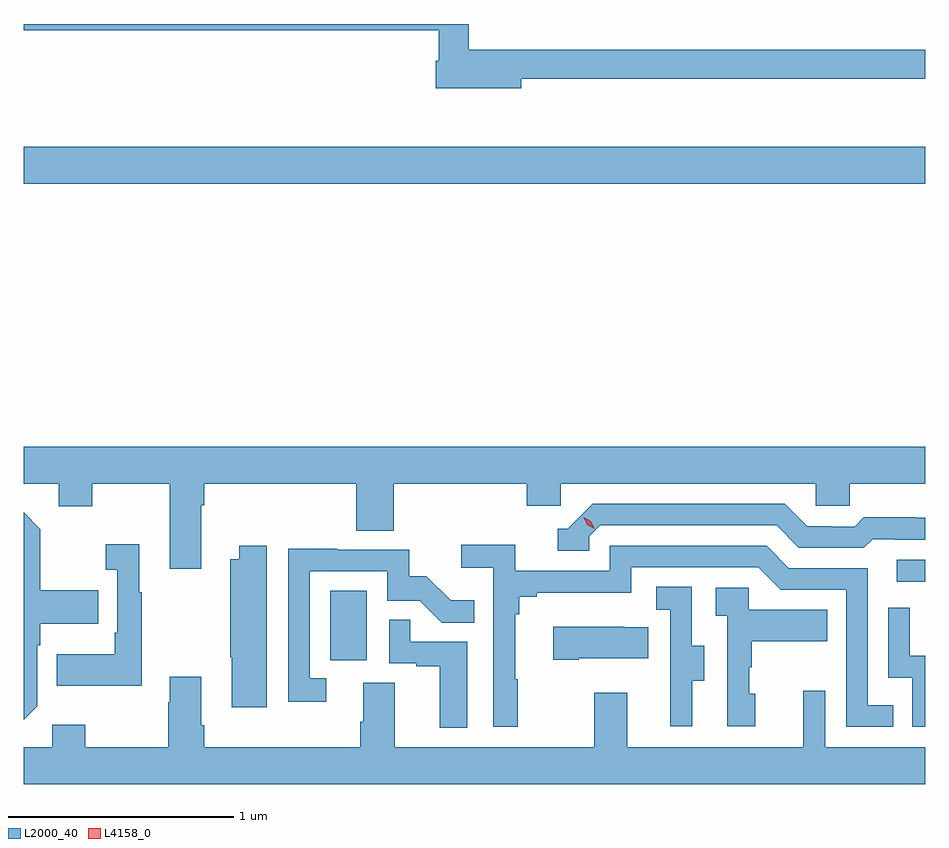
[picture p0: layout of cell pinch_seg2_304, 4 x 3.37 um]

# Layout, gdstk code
import gdstk
lib = gdstk.Library(unit=1e-6, precision=1e-09)
def R(c, l, rs):  # rectangles x0, y0, x1, y1
    for r in rs: c.add(gdstk.rectangle(r[:2], r[2:], *l))
def P(c, l, *ps):  # polygons
    for p in ps: c.add(gdstk.Polygon(p, *l))
L2000_40 = (2000, 40)
L4158_0 = (4158, 0)

pinch_seg2_304 = lib.new_cell('pinch_seg2_304')
R(pinch_seg2_304, L2000_40, [(890.372,633.534,890.536,633.841), (892.887,633.882,893.013,633.978), (889.013,635.648,893.013,635.812)])
P(pinch_seg2_304, L2000_40, [(891.22,636.114),(893.013,636.114),(893.013,636.242),(890.987,636.242),(890.987,636.356),(889.013,636.356),(889.013,636.328),(890.855,636.328),(890.855,636.193),(890.84,636.193),(890.84,636.071),(891.22,636.071)],
  [(889.013,634.316),(889.169,634.316),(889.169,634.217),(889.317,634.217),(889.317,634.316),(889.661,634.316),(889.661,633.939),(889.801,633.939),(889.801,634.22),(889.814,634.22),(889.814,634.316),(890.489,634.316),(890.489,634.108),(890.654,634.108),(890.654,634.316),(891.245,634.316),(891.245,634.218),(891.396,634.218),(891.396,634.316),(892.527,634.316),(892.527,634.218),(892.677,634.218),(892.677,634.316),(893.013,634.316),(893.013,634.48),(889.013,634.48)],
  [(891.522,634.083),(891.57,634.131),(892.353,634.131),(892.452,634.032),(892.741,634.032),(892.78,634.071),(892.879,634.071),(892.879,634.068),(893.013,634.068),(893.013,634.165),(892.974,634.165),(892.974,634.168),(892.741,634.168),(892.699,634.125),(892.596,634.125),(892.596,634.128),(892.489,634.128),(892.39,634.227),(891.537,634.227),(891.426,634.116),(891.383,634.116),(891.383,634.02),(891.522,634.02)],
  [(889.074,633.33),(889.074,633.599),(889.087,633.599),(889.087,633.695),(889.343,633.695),(889.343,633.843),(889.087,633.843),(889.087,634.115),(889.013,634.189),(889.013,633.269)],
  [(889.537,633.835),(889.525,633.835),(889.525,634.048),(889.377,634.048),(889.377,633.935),(889.428,633.935),(889.428,633.655),(889.416,633.655),(889.416,633.559),(889.159,633.559),(889.159,633.419),(889.537,633.419)],
  [(891.205,633.449),(891.193,633.449),(891.193,633.737),(891.212,633.737),(891.212,633.814),(891.289,633.814),(891.289,633.833),(891.708,633.833),(891.708,633.945),(892.272,633.945),(892.371,633.846),(892.662,633.846),(892.662,633.237),(892.871,633.237),(892.871,633.333),(892.758,633.333),(892.758,633.942),(892.408,633.942),(892.309,634.041),(891.612,634.041),(891.612,633.93),(891.194,633.93),(891.194,634.046),(890.955,634.046),(890.955,633.944),(891.096,633.944),(891.096,633.237),(891.205,633.237)],
  [(890.092,634.042),(889.97,634.042),(889.97,633.982),(889.93,633.982),(889.93,633.547),(889.937,633.547),(889.937,633.324),(890.092,633.324)],
  [(890.356,633.453),(890.283,633.453),(890.283,633.927),(890.625,633.927),(890.625,633.798),(890.77,633.798),(890.868,633.7),(891.011,633.7),(891.011,633.799),(890.907,633.799),(890.8,633.906),(890.724,633.906),(890.724,634.023),(890.405,634.023),(890.405,634.028),(890.187,634.028),(890.187,633.348),(890.356,633.348)],
  [(891.979,633.442),(892.033,633.442),(892.033,633.597),(891.978,633.597),(891.978,633.86),(891.819,633.86),(891.819,633.757),(891.882,633.757),(891.882,633.453),(891.881,633.453),(891.881,633.24),(891.979,633.24)],
  [(892.258,633.384),(892.233,633.384),(892.233,633.503),(892.243,633.503),(892.243,633.617),(892.577,633.617),(892.577,633.757),(892.23,633.757),(892.23,633.855),(892.083,633.855),(892.083,633.731),(892.134,633.731),(892.134,633.24),(892.258,633.24)],
  [(893.013,633.554),(892.944,633.554),(892.944,633.766),(892.848,633.766),(892.848,633.456),(892.956,633.456),(892.956,633.237),(893.013,633.237)],
  [(890.98,633.615),(890.729,633.615),(890.729,633.713),(890.634,633.713),(890.634,633.519),(890.755,633.519),(890.755,633.507),(890.858,633.507),(890.858,633.233),(890.98,633.233)],
  [(891.475,633.542),(891.785,633.542),(891.785,633.679),(891.677,633.679),(891.677,633.682),(891.363,633.682),(891.363,633.535),(891.475,633.535)],
  [(893.013,633.148),(892.569,633.148),(892.569,633.397),(892.472,633.397),(892.472,633.148),(891.691,633.148),(891.691,633.388),(891.544,633.388),(891.544,633.148),(890.659,633.148),(890.659,633.434),(890.519,633.434),(890.519,633.26),(890.507,633.26),(890.507,633.148),(889.814,633.148),(889.814,633.244),(889.801,633.244),(889.801,633.46),(889.661,633.46),(889.661,633.347),(889.654,633.347),(889.654,633.148),(889.287,633.148),(889.287,633.247),(889.14,633.247),(889.14,633.148),(889.013,633.148),(889.013,632.984),(893.013,632.984)])
P(pinch_seg2_304, L4158_0, [(891.545,634.116),(891.514,634.135),(891.498,634.168),(891.498,634.168),(891.498,634.168),(891.529,634.149),(891.545,634.116),(891.545,634.116)])

lib.write_gds('pinch_seg2_304.gds')
